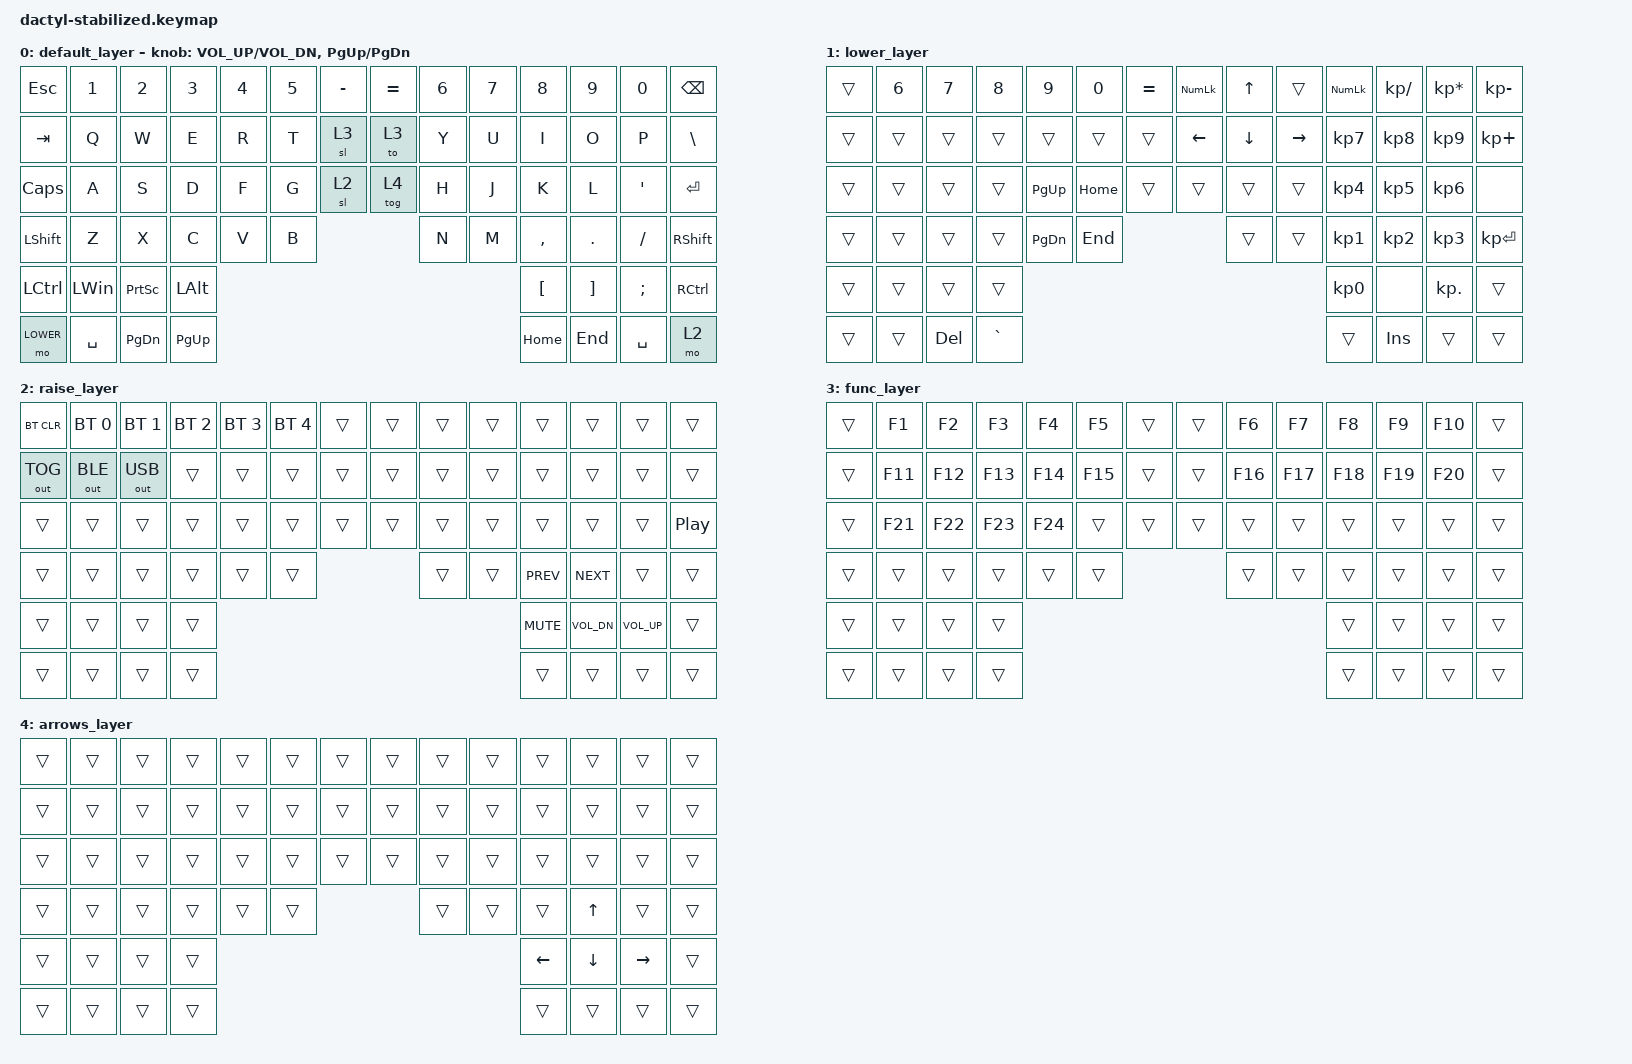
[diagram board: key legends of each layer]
/*
 * Copyright (c) 2020 The ZMK Contributors
 *
 * SPDX-License-Identifier: MIT
 */

 #include <behaviors.dtsi>
 #include <dt-bindings/zmk/keys.h>
 #include <dt-bindings/zmk/bt.h>
 #include <dt-bindings/zmk/outputs.h>
 
 #define DEFAULT 0
 #define LOWER 1
 #define RAISE 2
 #define FUNC 3
 #define ARROWS 4
 
 / {
     keymap {
         compatible = "zmk,keymap";
 
         default_layer {

             bindings = <
 &kp ESC    &kp N1   &kp N2   &kp N3   &kp N4     &kp N5    &kp MINUS          &kp EQUAL   &kp N6    &kp N7    &kp N8    &kp N9      &kp N0      &kp BSPC
 &kp TAB    &kp Q    &kp W    &kp E    &kp R      &kp T     &sl 3              &to 3   	   &kp Y     &kp U     &kp I     &kp O       &kp P       &kp BSLH
 &kp CAPS   &kp A    &kp S    &kp D    &kp F      &kp G     &sl 2              &tog 4      &kp H     &kp J     &kp K     &kp L       &kp APOS    &kp ENTER
 &kp LSHFT  &kp Z    &kp X    &kp C    &kp V      &kp B                                    &kp N     &kp M     &kp COMMA &kp DOT     &kp FSLH    &kp RSHIFT
 &kp LCTRL  &kp LWIN  &kp PSCRN 	  &kp LALT  					             							   &kp LBKT  &kp RBKT 	 &kp SEMI 	 &kp RCTRL
 &mo LOWER   &kp SPACE  &kp PG_DN 	  &kp PG_UP																   &kp HOME	 &kp END 	 &kp SPACE 	 &mo 2
             >;
 
             sensor-bindings = <&inc_dec_kp C_VOL_UP C_VOL_DN &inc_dec_kp PG_UP PG_DN>;
         };
 
         lower_layer {

             bindings = <
 &trans    &kp N6    &kp N7    &kp N8    &kp N9    &kp N0  		  &kp EQUAL       &kp KP_NLCK  &kp UP 	 &trans     &kp KP_NLCK  	&kp KP_DIVIDE   &kp KP_ASTERISK 	&kp KP_MINUS
 &trans    &trans    &trans    &trans    &trans    &trans   	 &trans          &kp LEFT    &kp DOWN    &kp RIGHT	&kp KP_N7	 	&kp KP_N8 		&kp KP_N9          	&kp KP_PLUS
 &trans    &trans    &trans    &trans    &kp PG_UP    &kp HOME    &trans          &trans   	 &trans   	 &trans 	&kp KP_N4 		&kp KP_N5		 &kp KP_N6 			 &none
 &trans    &trans    &trans    &trans    &kp PG_DN    &kp END                             	 &trans   	 &trans 	&kp KP_N1		 &kp KP_N2 		&kp KP_N3   	 	&kp KP_ENTER
 &trans    &trans    &trans    &trans      			       					  						  		  		 &kp KP_N0  	 &none   		 &kp KP_DOT   		 &trans 
  &trans    &trans    &kp DEL    &kp GRAVE																			 &trans   		 &kp INS   		 &trans   			 &trans
             >;
         };
 
         raise_layer {

             bindings = <
 &bt BT_CLR   &bt BT_SEL 0 &bt BT_SEL 1 &bt BT_SEL 2 &bt BT_SEL 3 &bt BT_SEL 4 &trans          &trans   &trans     &trans    &trans  &trans   &trans   &trans
 &out OUT_TOG &out OUT_BLE &out OUT_USB  &trans       &trans       &trans       &trans          &trans    &trans    &trans    &trans   &trans    &trans    &trans
 &trans       &trans       &trans       &trans       &trans       &trans       &trans          &trans    &trans    &trans    &trans 	 &trans	 &trans    &kp C_PP
 &trans       &trans       &trans       &trans       &trans       &trans                                 &trans    &trans   &kp C_PREV &kp C_NEXT    &trans    &trans
 &trans       &trans       &trans       &trans       	          															&kp C_MUTE &kp C_VOL_DN &kp C_VOL_UP    &trans
  &trans       &trans       &trans       &trans       	          															&trans    &trans    &trans    &trans
             >;
         };
		 
		 func_layer {

             bindings = <
 &trans  	 &kp F1		 &kp F2 		&kp F3		 &kp F4 	  &kp F5 	  &trans            &trans   &kp F6     &kp F7    &kp F8   &kp F9    &kp F10    &trans
 &trans		  &kp F11      &kp F12      &kp F13      &kp F14      &kp F15       &trans          &trans   &kp F16   &kp F17   &kp F18   &kp F19   &kp F20    &trans
 &trans       &kp F21      &kp F22      &kp F23      &kp F24       &trans       &trans          &trans    &trans    &trans 	 &trans 	&trans 	&trans    &trans
 &trans       &trans       &trans       &trans       &trans       &trans                                 &trans    &trans    &trans    &trans    &trans    &trans
 &trans       &trans       &trans       &trans       	          															&trans    &trans    &trans    &trans
  &trans       &trans       &trans       &trans       	          															&trans    &trans    &trans    &trans
             >;
         };
		 arrows_layer {

             bindings = <
 &trans  	 &trans		 &trans 		&trans		 &trans 	  &trans 	  &trans         	 &trans   &trans     &trans    &trans   &trans    &trans    &trans
 &trans		  &trans      &trans      &trans     	 &trans     &trans       &trans        		  &trans   &trans   &trans   &trans   &trans   &trans    &trans
 &trans       &trans      &trans      &trans     	 &trans       &trans       &trans       	   &trans   &trans    &trans 	 &trans 	&trans 	&trans    &trans
 &trans       &trans       &trans       &trans       &trans       &trans                                    &trans    &trans    &trans    &kp UP    &trans    &trans
 &trans       &trans       &trans       &trans       	          																&kp LEFT  &kp DOWN  &kp RIGHT &trans
  &trans       &trans       &trans       &trans       	          																&trans    &trans    &trans    &trans
             >;
         };
		 
		 
     };
 };
